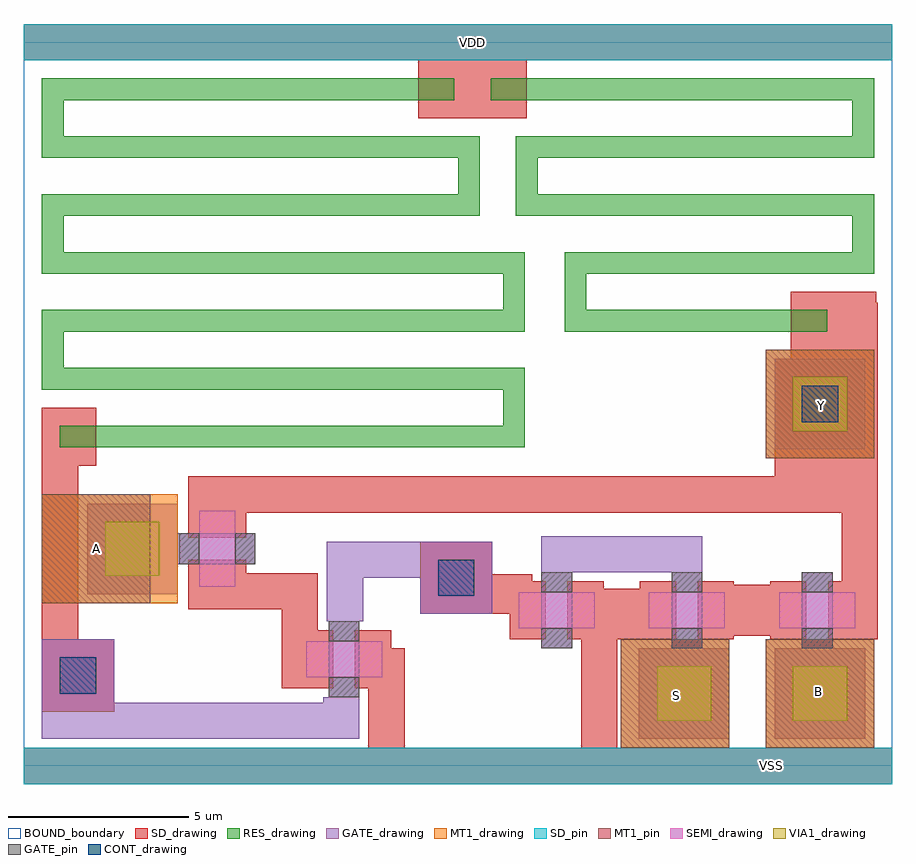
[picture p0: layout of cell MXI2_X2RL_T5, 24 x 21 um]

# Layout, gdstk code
from math import pi, radians
import gdstk
lib = gdstk.Library(unit=1e-6, precision=1e-09)
def R(c, l, rs):  # rectangles x0, y0, x1, y1
    for r in rs: c.add(gdstk.rectangle(r[:2], r[2:], *l))
def P(c, l, *ps):  # polygons
    for p in ps: c.add(gdstk.Polygon(p, *l))
RES_drawing = (1, 0)
SEMI_drawing = (3, 0)
SD_drawing = (10, 0)
SD_pin = (10, 3)
GATE_drawing = (11, 0)
GATE_pin = (11, 3)
MT1_drawing = (20, 0)
MT1_pin = (20, 3)
CONT_drawing = (30, 0)
VIA1_drawing = (41, 0)
BOUND_boundary = (150, 5)

nch_cdns_772544982720 = lib.new_cell('nch_CDNS_772544982720')
R(nch_cdns_772544982720, SEMI_drawing, [(-1.05,-0.5,1.05,0.5)])
R(nch_cdns_772544982720, SD_drawing, [(-1.3,-0.8,-0.3,0.8), (0.3,-0.8,1.3,0.8)])
R(nch_cdns_772544982720, GATE_drawing, [(-0.425,-1.05,0.425,1.05)])
R(nch_cdns_772544982720, GATE_pin, [(-0.425,-1.05,0.425,-0.5), (-0.425,0.5,0.425,1.05)])

sd_gate_cdns_77254498272 = lib.new_cell('SD_GATE_CDNS_772544982720')
R(sd_gate_cdns_77254498272, SD_drawing, [(-1,-1,1,1)])
R(sd_gate_cdns_77254498272, GATE_drawing, [(-1,-1,1,1)])
R(sd_gate_cdns_77254498272, CONT_drawing, [(-0.5,-0.5,0.5,0.5)])

gate_mt1_cdns_7725449827 = lib.new_cell('GATE_MT1_CDNS_772544982721')
R(gate_mt1_cdns_7725449827, GATE_drawing, [(-1.25,-1.25,1.25,1.25)])
R(gate_mt1_cdns_7725449827, MT1_drawing, [(-1.25,-1.25,1.25,1.25)])
R(gate_mt1_cdns_7725449827, VIA1_drawing, [(-0.75,-0.75,0.75,0.75)])

gate_mt1_stack_cdns_7725 = lib.new_cell('GATE_MT1_STACK_CDNS_772544982722')
R(gate_mt1_stack_cdns_7725, GATE_drawing, [(-1.25,-1.25,1.25,1.25)])
R(gate_mt1_stack_cdns_7725, MT1_drawing, [(-1.25,-1.25,1.25,1.25)])
R(gate_mt1_stack_cdns_7725, VIA1_drawing, [(-0.75,-0.75,0.75,0.75)])

mxi2_x2rl_t5 = lib.new_cell('MXI2_X2RL_T5')
R(mxi2_x2rl_t5, SD_drawing, [(10.95,4.2,14.05,5.3), (20.75,7.45,23.55,9.05), (0.5,8.3,2,9.9), (20.75,8.75,23.25,11.25), (21.2,11.25,23.55,13.1), (10.9,17.9,13.9,19.5)])
R(mxi2_x2rl_t5, SD_pin, [(0,-0.5,24,0.5), (0,19.5,24,20.5)])
R(mxi2_x2rl_t5, GATE_drawing, [(4.25,5.575,4.35,6.425)])
P(mxi2_x2rl_t5, GATE_drawing, [(15.3,5.45),(14.3,5.45),(14.3,5.3),(15.05,5.3),(15.05,5.35),(15.3,5.35)],
  [(18.75,5.45),(17.75,5.45),(17.75,5.35),(18,5.35),(18,5.3),(18.75,5.3)],
  [(21.4,3.15),(22.4,3.15),(22.4,3.25),(22.3,3.25),(22.3,3.3),(21.55,3.3),(21.55,3.25),(21.4,3.25)],
  [(17.8,3.15),(18.8,3.15),(18.8,3.25),(18.7,3.25),(18.7,3.3),(17.95,3.3),(17.95,3.25),(17.8,3.25)],
  [(9.375,4.1),(8.375,4.1),(8.375,4),(8.475,4),(8.475,3.95),(9.225,3.95),(9.225,4),(9.375,4)],
  [(8.275,1.8),(9.25,1.8),(9.25,1.95),(8.5,1.95),(8.5,1.9),(8.275,1.9)])
R(mxi2_x2rl_t5, MT1_drawing, [(16.5,0.5,19.5,3.5), (20.5,0.5,23.5,3.5), (0.5,4.5,4.25,7.5), (20.5,8.5,23.5,11.5)])
R(mxi2_x2rl_t5, MT1_pin, [(16.5,0.5,19.5,3.5), (20.5,0.5,23.5,3.5), (0.5,4.5,3.5,7.5), (20.5,8.5,23.5,11.5)])
R(mxi2_x2rl_t5, BOUND_boundary, [(0,0,24,20)])
mxi2_x2rl_t5.add(gdstk.FlexPath([(0,0),(24,0)], 1, ends="flush", simple_path=True, layer=10, datatype=0))  # SD_drawing
mxi2_x2rl_t5.add(gdstk.FlexPath([(0,20),(24,20)], 1, ends="flush", simple_path=True, layer=10, datatype=0))  # SD_drawing
mxi2_x2rl_t5.add(gdstk.FlexPath([(5.05,7.5),(23.1,7.5)], 1, ends="extended", simple_path=True, layer=10, datatype=0))  # SD_drawing
mxi2_x2rl_t5.add(gdstk.FlexPath([(23.1,12.3),(23.1,7.5)], 1, ends="extended", simple_path=True, layer=10, datatype=0))  # SD_drawing
mxi2_x2rl_t5.add(gdstk.FlexPath([(23.1,7.5),(23.1,3.5)], 1, ends=(0.5, 0), simple_path=True, layer=10, datatype=0))  # SD_drawing
mxi2_x2rl_t5.add(gdstk.FlexPath([(16.525,4.2),(17.025,4.2)], 1.4, ends=(0.5, 0), simple_path=True, layer=10, datatype=0))  # SD_drawing
mxi2_x2rl_t5.add(gdstk.FlexPath([(15.9,1),(15.9,2.8)], 1, ends=(0.5, 0.7), simple_path=True, layer=10, datatype=0))  # SD_drawing
mxi2_x2rl_t5.add(gdstk.FlexPath([(23.1,7.5),(23.5,7.5)], 1, ends=(0.5, 0), simple_path=True, layer=10, datatype=0))  # SD_drawing
mxi2_x2rl_t5.add(gdstk.FlexPath([(7.625,4.825),(7.625,2.15)], 1, ends=(0.5, 0), simple_path=True, layer=10, datatype=0))  # SD_drawing
mxi2_x2rl_t5.add(gdstk.FlexPath([(10.025,3.25),(10.025,1)], 1, ends=(0, 0.5), simple_path=True, layer=10, datatype=0))  # SD_drawing
mxi2_x2rl_t5.add(gdstk.FlexPath([(4.55,4.825),(7.625,4.825)], 1, ends=(0, 0.5), simple_path=True, layer=10, datatype=0))  # SD_drawing
mxi2_x2rl_t5.add(gdstk.FlexPath([(20.625,4.3),(19.625,4.3)], 1.4, ends="flush", simple_path=True, layer=10, datatype=0))  # SD_drawing
mxi2_x2rl_t5.add(gdstk.FlexPath([(1,8.3),(1,2.5)], 1, ends=(0, 1), simple_path=True, layer=10, datatype=0))  # SD_drawing
mxi2_x2rl_t5.add(gdstk.FlexPath([(18.25,5.85),(14.8,5.85)], 1, ends="extended", simple_path=True, layer=11, datatype=0))  # GATE_drawing
mxi2_x2rl_t5.add(gdstk.FlexPath([(8.875,5.7),(12.45,5.7)], 1, ends="extended", simple_path=True, layer=11, datatype=0))  # GATE_drawing
mxi2_x2rl_t5.add(gdstk.FlexPath([(8.875,4),(8.875,5.7)], 1, ends=(0, 0.5), simple_path=True, layer=11, datatype=0))  # GATE_drawing
mxi2_x2rl_t5.add(gdstk.FlexPath([(8.775,1.9),(8.775,1.25)], 1, ends=(0, 0.5), simple_path=True, layer=11, datatype=0))  # GATE_drawing
mxi2_x2rl_t5.add(gdstk.FlexPath([(8.775,1.25),(1,1.25)], 1, ends="extended", simple_path=True, layer=11, datatype=0))  # GATE_drawing
mxi2_x2rl_t5.add(gdstk.FlexPath([(22.2,12.3),(15.25,12.3),(15.25,13.9),(23.2,13.9),(23.2,15.5),(13.9,15.5),(13.9,17.1),(23.2,17.1),(23.2,18.7),(12.9,18.7)], 0.6, ends="flush", simple_path=True, layer=1, datatype=0))  # RES_drawing
mxi2_x2rl_t5.add(gdstk.FlexPath([(2,9.1),(13.55,9.1),(13.55,10.7),(0.8,10.7),(0.8,12.3),(13.55,12.3),(13.55,13.9),(0.8,13.9),(0.8,15.5),(12.3,15.5),(12.3,17.1),(0.8,17.1),(0.8,18.7),(10.9,18.7)], 0.6, ends=(1, 1), simple_path=True, layer=1, datatype=0))  # RES_drawing
mxi2_x2rl_t5.add(gdstk.Reference(nch_cdns_772544982720, (18.325,4.3)))
mxi2_x2rl_t5.add(gdstk.Reference(nch_cdns_772544982720, (8.85,2.95), rotation=pi, x_reflection=True))
mxi2_x2rl_t5.add(gdstk.Reference(nch_cdns_772544982720, (5.35,6), rotation=3*pi/2, x_reflection=True))
mxi2_x2rl_t5.add(gdstk.Reference(nch_cdns_772544982720, (14.725,4.3), rotation=pi, x_reflection=True))
mxi2_x2rl_t5.add(gdstk.Reference(nch_cdns_772544982720, (21.925,4.3)))
mxi2_x2rl_t5.add(gdstk.Reference(sd_gate_cdns_77254498272, (22,10)))
mxi2_x2rl_t5.add(gdstk.Reference(sd_gate_cdns_77254498272, (11.95,5.2)))
mxi2_x2rl_t5.add(gdstk.Reference(sd_gate_cdns_77254498272, (1.5,2.5)))
mxi2_x2rl_t5.add(gdstk.Reference(gate_mt1_cdns_7725449827, (22,2)))
mxi2_x2rl_t5.add(gdstk.Reference(gate_mt1_cdns_7725449827, (22,10)))
mxi2_x2rl_t5.add(gdstk.Reference(gate_mt1_cdns_7725449827, (18.25,2)))
mxi2_x2rl_t5.add(gdstk.Reference(gate_mt1_stack_cdns_7725, (3,6)))
mxi2_x2rl_t5.add(gdstk.Label('B', (21.95,2.05), layer=20, texttype=3))
mxi2_x2rl_t5.add(gdstk.Label('Y', (22.05,9.95), layer=20, texttype=3))
mxi2_x2rl_t5.add(gdstk.Label('S', (18.05,1.95), layer=20, texttype=3))
mxi2_x2rl_t5.add(gdstk.Label('A', (2,6), layer=20, texttype=3))
mxi2_x2rl_t5.add(gdstk.Label('VSS', (20.65,0), layer=10, texttype=3))
mxi2_x2rl_t5.add(gdstk.Label('VDD', (12.4,20), layer=10, texttype=3))

lib.write_gds('MXI2_X2RL_T5.gds')
